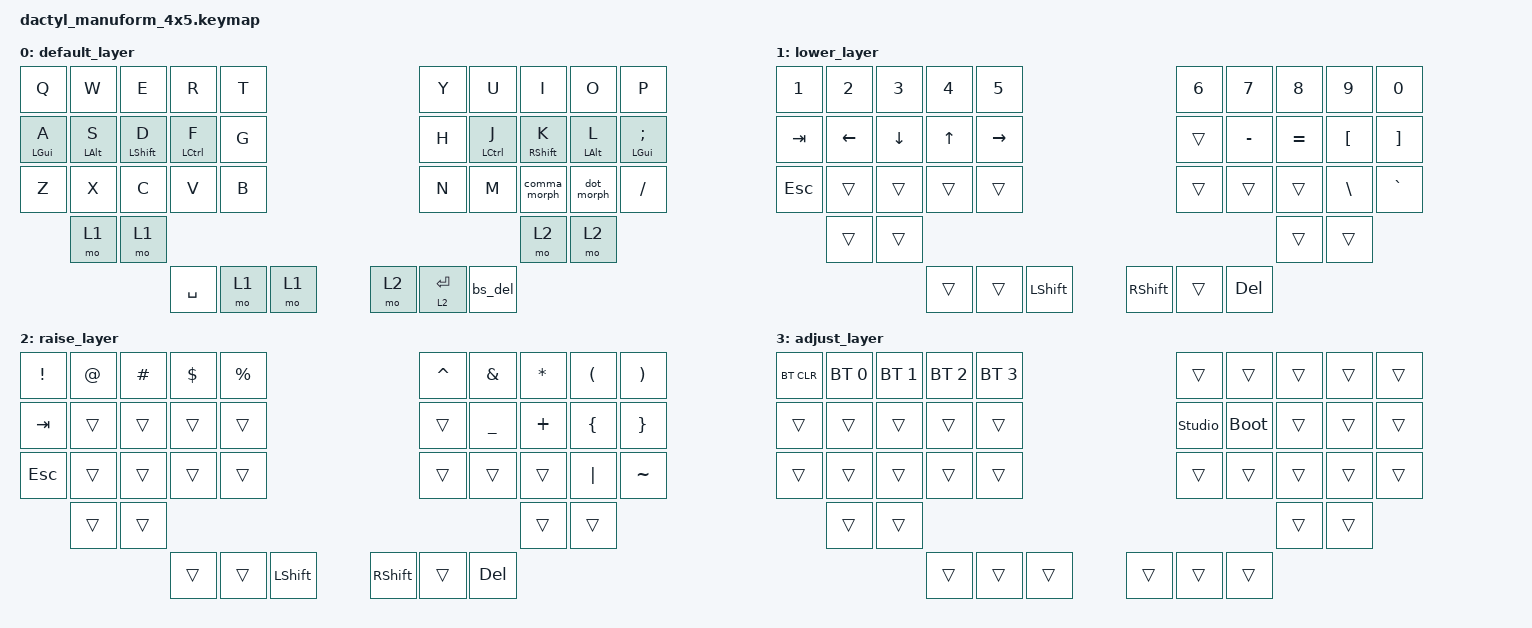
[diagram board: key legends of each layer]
#include <behaviors.dtsi>
#include <dt-bindings/zmk/keys.h>
#include <dt-bindings/zmk/bt.h>
#include <zmk-helpers/helper.h>

/* Key position groups */
#define KEYS_L  0 1 2 3 4  10 11 12 13 14  20 21 22 23 24  30 31
#define KEYS_R  5 6 7 8 9  15 16 17 18 19  25 26 27 28 29  32 33
#define THUMBS  34 35 36 37 38 39

/* Home row mods */
#define QUICK_TAP_MS 175

#define MAKE_HRM(NAME, HOLD, TAP, TRIGGER_POS)                                \
    ZMK_HOLD_TAP(NAME,                                                        \
        bindings = <HOLD>, <TAP>;                                             \
        flavor = "balanced";                                                  \
        tapping-term-ms = <280>;                                              \
        quick-tap-ms = <QUICK_TAP_MS>;                                        \
        require-prior-idle-ms = <150>;                                        \
        hold-trigger-on-release;                                              \
        hold-trigger-key-positions = <TRIGGER_POS>;)

MAKE_HRM(hml, &kp, &kp, KEYS_R THUMBS)
MAKE_HRM(hmr, &kp, &kp, KEYS_L THUMBS)

/* Mod morphs */
#define SIMPLE_MORPH(NAME, MOD, BINDING1, BINDING2) \
    ZMK_MOD_MORPH(NAME, mods = <(MOD_L##MOD | MOD_R##MOD)>; \
                  bindings = <BINDING1>, <BINDING2>;)

// Tap: comma | Shift: semicolon | Ctrl+Shift: <
SIMPLE_MORPH(comma_morph, SFT, &kp COMMA, &comma_inner_morph)
SIMPLE_MORPH(comma_inner_morph, CTL, &kp SEMICOLON, &kp LESS_THAN)

// Tap: dot | Shift: colon | Ctrl+Shift: >
SIMPLE_MORPH(dot_morph, SFT, &kp DOT, &dot_inner_morph)
SIMPLE_MORPH(dot_inner_morph, CTL, &kp COLON, &kp GREATER_THAN)

// Tap: backspace | Left-shift: delete | Right-shift: shift+delete (cut)
ZMK_MOD_MORPH(bs_del, bindings = <&kp BSPC>, <&kp DEL>;
              mods = <(MOD_LSFT | MOD_RSFT)>; keep-mods = <MOD_RSFT>;)

&lt {
    flavor = "balanced";
    tapping-term-ms = <200>;
    quick-tap-ms = <QUICK_TAP_MS>;
};

/ {
    conditional_layers {
        compatible = "zmk,conditional-layers";
        tri_layer {
            if-layers = <1 2>;
            then-layer = <3>;
        };
    };

    keymap {
        compatible = "zmk,keymap";

        default_layer {
            bindings = <
                &kp Q          &kp W          &kp E          &kp R          &kp T                      &kp Y          &kp U          &kp I          &kp O          &kp P
                &hml LGUI A    &hml LALT S    &hml LSHFT D   &hml LCTRL F   &kp G                      &kp H          &hmr LCTRL J   &hmr RSHFT K   &hmr LALT L    &hmr LGUI SEMI
                &kp Z          &kp X          &kp C          &kp V          &kp B                      &kp N          &kp M          &comma_morph   &dot_morph     &kp FSLH
                               &mo 1          &mo 1                                                                                    &mo 2          &mo 2
                                                              &kp SPACE      &mo 1    &mo 1             &mo 2          &lt 2 RET      &bs_del
            >;
        };

        lower_layer {
            bindings = <
                &kp N1     &kp N2     &kp N3      &kp N4      &kp N5                     &kp N6      &kp N7      &kp N8      &kp N9     &kp N0
                &kp TAB    &kp LEFT   &kp DOWN    &kp UP      &kp RIGHT                  &trans      &kp MINUS   &kp EQUAL   &kp LBKT   &kp RBKT
                &kp ESC    &trans     &trans      &trans      &trans                     &trans      &trans      &trans      &kp BSLH   &kp GRAVE
                           &trans     &trans                                                                     &trans      &trans
                                                  &trans      &trans   &kp LSHFT         &kp RSHFT   &trans      &kp DEL
            >;
        };

        raise_layer {
            bindings = <
                &kp EXCL   &kp AT     &kp HASH    &kp DLLR    &kp PRCNT                  &kp CARET   &kp AMPS    &kp STAR    &kp LPAR   &kp RPAR
                &kp TAB    &trans     &trans      &trans      &trans                     &trans      &kp UNDER   &kp PLUS    &kp LBRC   &kp RBRC
                &kp ESC    &trans     &trans      &trans      &trans                     &trans      &trans      &trans      &kp PIPE   &kp TILDE
                           &trans     &trans                                                                     &trans      &trans
                                                  &trans      &trans   &kp LSHFT         &kp RSHFT   &trans      &kp DEL
            >;
        };

        adjust_layer {
            bindings = <
                &bt BT_CLR &bt BT_SEL 0 &bt BT_SEL 1 &bt BT_SEL 2 &bt BT_SEL 3              &trans         &trans       &trans   &trans   &trans
                &trans     &trans       &trans       &trans       &trans                    &studio_unlock &bootloader  &trans   &trans   &trans
                &trans     &trans       &trans       &trans       &trans                    &trans         &trans       &trans   &trans   &trans
                           &trans       &trans                                                                          &trans   &trans
                                                     &trans       &trans     &trans         &trans         &trans       &trans
            >;
        };
    };
};
